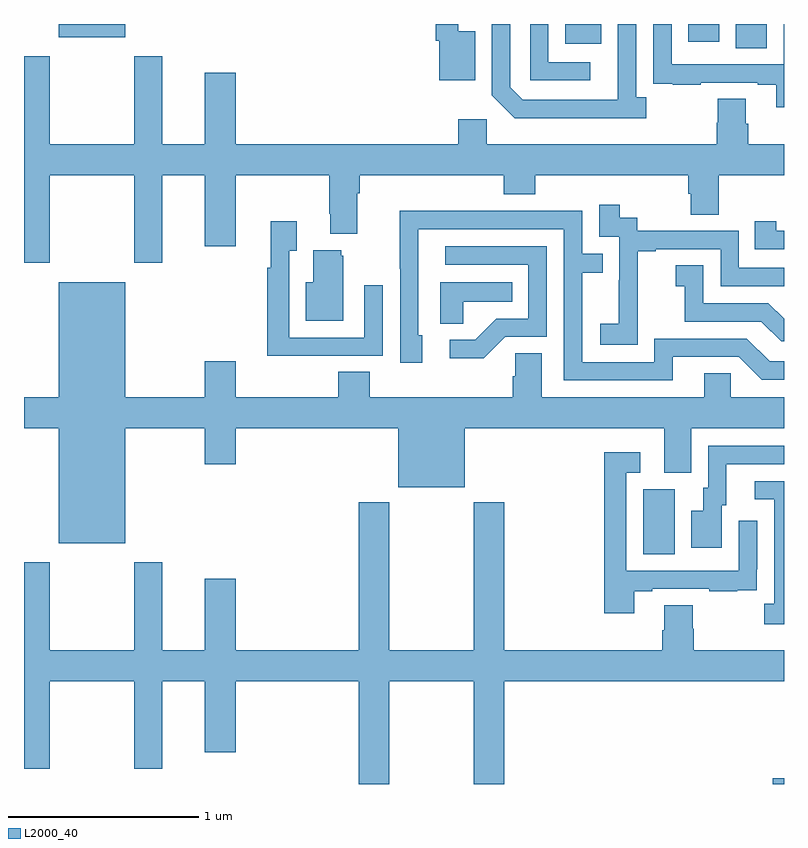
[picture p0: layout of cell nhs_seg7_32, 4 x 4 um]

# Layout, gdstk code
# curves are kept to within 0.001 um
import gdstk
lib = gdstk.Library(unit=1e-6, precision=1e-09)
def R(c, l, rs):  # rectangles x0, y0, x1, y1
    for r in rs: c.add(gdstk.rectangle(r[:2], r[2:], *l))
def P(c, l, *ps):  # polygons
    for p in ps: c.add(gdstk.Polygon(p, *l))
L2000_40 = (2000, 40)

nhs_seg7_32 = lib.new_cell('nhs_seg7_32')
R(nhs_seg7_32, L2000_40, [(114.942,1076,115,1076.03), (114.26,1077.208,114.424,1077.552), (114.746,1079.872,114.91,1080), (113.849,1079.897,114.037,1080), (114.497,1079.907,114.658,1080), (111.182,1079.93,111.532,1080)])
P(nhs_seg7_32, L2000_40, [(115,1080),(114.999,1080),(114.999,1079.787),(114.408,1079.787),(114.408,1080),(114.312,1080),(114.312,1079.794),(114.313,1079.794),(114.313,1079.685),(114.415,1079.685),(114.415,1079.679),(114.563,1079.679),(114.563,1079.691),(114.863,1079.691),(114.863,1079.679),(114.959,1079.679),(114.959,1079.562),(115,1079.562)],
  [(114.274,1079.614),(114.222,1079.614),(114.222,1080),(114.126,1080),(114.125,1079.601),(113.625,1079.601),(113.559,1079.667),(113.559,1080),(113.463,1080),(113.463,1079.625),(113.584,1079.504),(114.274,1079.504)],
  [(113.98,1079.799),(113.76,1079.799),(113.76,1080),(113.664,1080),(113.664,1079.703),(113.98,1079.703)],
  [(113.374,1079.962),(113.285,1079.962),(113.285,1080),(113.167,1080),(113.167,1079.913),(113.186,1079.913),(113.186,1079.705),(113.374,1079.705)],
  [(111.135,1079.204),(111.58,1079.204),(111.58,1078.743),(111.727,1078.743),(111.727,1079.204),(111.95,1079.204),(111.95,1078.83),(112.114,1078.83),(112.114,1079.204),(112.606,1079.204),(112.606,1079.002),(112.613,1079.002),(112.613,1078.895),(112.753,1078.895),(112.753,1079.108),(112.766,1079.108),(112.766,1079.204),(113.525,1079.204),(113.525,1079.105),(113.69,1079.105),(113.69,1079.204),(114.497,1079.204),(114.497,1079.106),(114.509,1079.106),(114.509,1078.996),(114.657,1078.996),(114.657,1079.204),(115,1079.204),(115,1079.368),(114.812,1079.368),(114.812,1079.474),(114.799,1079.474),(114.799,1079.606),(114.652,1079.606),(114.652,1079.481),(114.647,1079.481),(114.647,1079.368),(113.436,1079.368),(113.436,1079.5),(113.285,1079.5),(113.285,1079.368),(112.114,1079.368),(112.114,1079.743),(111.95,1079.743),(111.95,1079.368),(111.727,1079.368),(111.727,1079.83),(111.58,1079.83),(111.58,1079.368),(111.135,1079.368),(111.135,1079.83),(111,1079.83),(111,1078.743),(111.135,1078.743)],
  [(114.231,1078.519),(114.23,1078.519),(114.23,1078.803),(114.325,1078.803),(114.325,1078.815),(114.666,1078.815),(114.666,1078.62),(115,1078.62),(115,1078.716),(114.762,1078.716),(114.762,1078.911),(114.228,1078.911),(114.228,1078.98),(114.136,1078.98),(114.136,1079.05),(114.027,1079.05),(114.027,1078.881),(114.132,1078.881),(114.132,1078.652),(114.131,1078.652),(114.131,1078.423),(114.033,1078.423),(114.033,1078.313),(114.231,1078.313)],
  [(114.415,1078.248),(114.762,1078.248),(114.882,1078.128),(115,1078.128),(115,1078.224),(114.924,1078.224),(114.804,1078.344),(114.318,1078.344),(114.318,1078.221),(113.937,1078.221),(113.937,1078.69),(114.047,1078.69),(114.047,1078.791),(113.937,1078.791),(113.937,1079.016),(113.441,1079.016),(113.441,1079.018),(112.978,1079.018),(112.978,1078.711),(112.98,1078.711),(112.98,1078.218),(113.095,1078.218),(113.095,1078.362),(113.076,1078.362),(113.076,1078.92),(113.841,1078.92),(113.841,1078.125),(114.415,1078.125)],
  [(115,1078.911),(114.958,1078.911),(114.958,1078.963),(114.847,1078.963),(114.847,1078.815),(115,1078.815)],
  [(112.571,1078.254),(112.887,1078.254),(112.887,1078.624),(112.791,1078.624),(112.791,1078.35),(112.395,1078.35),(112.395,1078.807),(112.435,1078.807),(112.435,1078.963),(112.298,1078.963),(112.298,1078.718),(112.279,1078.718),(112.279,1078.253),(112.571,1078.253)],
  [(113.532,1078.353),(113.751,1078.353),(113.751,1078.83),(113.217,1078.83),(113.217,1078.734),(113.655,1078.734),(113.655,1078.449),(113.486,1078.449),(113.375,1078.338),(113.241,1078.338),(113.241,1078.241),(113.419,1078.241)],
  [(112.681,1078.779),(112.67,1078.779),(112.67,1078.81),(112.523,1078.81),(112.523,1078.642),(112.484,1078.642),(112.484,1078.439),(112.681,1078.439)],
  [(115,1078.448),(114.918,1078.53),(114.576,1078.53),(114.576,1078.729),(114.429,1078.729),(114.429,1078.619),(114.478,1078.619),(114.478,1078.434),(114.881,1078.434),(114.986,1078.329),(115,1078.329)],
  [(113.313,1078.538),(113.57,1078.538),(113.57,1078.642),(113.192,1078.642),(113.192,1078.423),(113.313,1078.423)],
  [(111.532,1077.872),(111.95,1077.872),(111.95,1077.684),(112.114,1077.684),(112.114,1077.872),(112.97,1077.872),(112.97,1077.563),(113.32,1077.563),(113.32,1077.872),(114.371,1077.872),(114.371,1077.637),(114.511,1077.637),(114.511,1077.872),(115,1077.872),(115,1078.036),(114.72,1078.036),(114.72,1078.163),(114.581,1078.163),(114.581,1078.036),(113.725,1078.036),(113.725,1078.268),(113.586,1078.268),(113.586,1078.145),(113.573,1078.145),(113.573,1078.036),(112.82,1078.036),(112.82,1078.169),(112.655,1078.169),(112.655,1078.036),(112.114,1078.036),(112.114,1078.225),(111.95,1078.225),(111.95,1078.036),(111.532,1078.036),(111.532,1078.642),(111.182,1078.642),(111.182,1078.036),(111,1078.036),(111,1077.872),(111.182,1077.872),(111.182,1077.266),(111.532,1077.266)],
  [(114.673,1077.468),(114.697,1077.468),(114.697,1077.684),(115,1077.684),(115,1077.78),(114.6,1077.78),(114.6,1077.558),(114.575,1077.558),(114.575,1077.439),(114.512,1077.439),(114.512,1077.243),(114.673,1077.243)],
  [(114.211,1077.015),(114.307,1077.015),(114.307,1077.027),(114.607,1077.027),(114.607,1077.015),(114.755,1077.015),(114.755,1077.021),(114.857,1077.021),(114.857,1077.13),(114.858,1077.13),(114.858,1077.385),(114.762,1077.385),(114.762,1077.123),(114.171,1077.123),(114.171,1077.639),(114.244,1077.639),(114.244,1077.745),(114.055,1077.745),(114.055,1076.898),(114.211,1076.898)],
  [(115,1077.594),(114.846,1077.594),(114.846,1077.498),(114.948,1077.498),(114.948,1076.95),(114.897,1076.95),(114.897,1076.84),(115,1076.84)],
  [(112.923,1076.54),(113.368,1076.54),(113.368,1076),(113.528,1076),(113.528,1076.54),(115,1076.54),(115,1076.704),(114.524,1076.704),(114.524,1076.817),(114.519,1076.817),(114.519,1076.942),(114.371,1076.942),(114.371,1076.81),(114.359,1076.81),(114.359,1076.704),(113.528,1076.704),(113.528,1077.484),(113.368,1077.484),(113.368,1076.704),(112.923,1076.704),(112.923,1077.484),(112.763,1077.484),(112.763,1076.704),(112.114,1076.704),(112.114,1077.079),(111.95,1077.079),(111.95,1076.704),(111.727,1076.704),(111.727,1077.166),(111.58,1077.166),(111.58,1076.704),(111.135,1076.704),(111.135,1077.166),(111,1077.166),(111,1076.079),(111.135,1076.079),(111.135,1076.54),(111.58,1076.54),(111.58,1076.079),(111.727,1076.079),(111.727,1076.54),(111.95,1076.54),(111.95,1076.166),(112.114,1076.166),(112.114,1076.54),(112.763,1076.54),(112.763,1076),(112.923,1076)])

lib.write_gds('nhs_seg7_32.gds')
